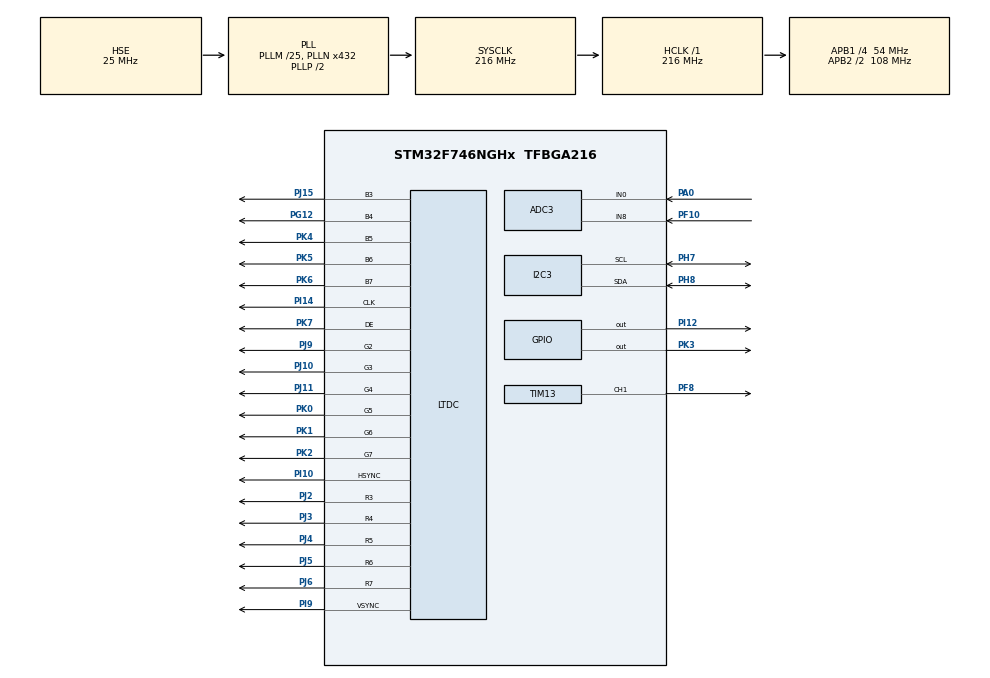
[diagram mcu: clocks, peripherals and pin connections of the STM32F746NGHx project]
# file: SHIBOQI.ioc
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ADC3.Channel-0\#ChannelRegularConversion=ADC_CHANNEL_0
ADC3.Channel-1\#ChannelRegularConversion=ADC_CHANNEL_8
ADC3.DMAContinuousRequests=ENABLE
ADC3.ExternalTrigConv=ADC_EXTERNALTRIGCONV_T2_CC2
ADC3.NbrOfConversion=2
ADC3.NbrOfConversionFlag=1
ADC3.Rank-0\#ChannelRegularConversion=1
ADC3.Rank-1\#ChannelRegularConversion=2
ADC3.SamplingTime-0\#ChannelRegularConversion=ADC_SAMPLETIME_3CYCLES
ADC3.SamplingTime-1\#ChannelRegularConversion=ADC_SAMPLETIME_3CYCLES
Dma.ADC3.0.Direction=DMA_PERIPH_TO_MEMORY
Dma.ADC3.0.FIFOMode=DMA_FIFOMODE_DISABLE
Dma.ADC3.0.Instance=DMA2_Stream0
Dma.ADC3.0.MemDataAlignment=DMA_MDATAALIGN_HALFWORD
Dma.ADC3.0.MemInc=DMA_MINC_ENABLE
Dma.ADC3.0.Mode=DMA_CIRCULAR
Dma.ADC3.0.PeriphDataAlignment=DMA_PDATAALIGN_HALFWORD
Dma.ADC3.0.PeriphInc=DMA_PINC_DISABLE
Dma.ADC3.0.Priority=DMA_PRIORITY_LOW
Dma.Request0=ADC3
I2C3.Timing=0x20404768
LTDC.ActiveH=272
LTDC.ActiveW=480
LTDC.Alpha_L0=255
LTDC.FBStartAdress_L0=0x20010400
LTDC.HBP=43
LTDC.HFP=8
LTDC.HSync=1
LTDC.ImageHeight_L0=272
LTDC.ImageWidth_L0=480
LTDC.Layers=0
LTDC.PixelFormat_L0=LTDC_PIXEL_FORMAT_RGB565
LTDC.VBP=12
LTDC.VFP=4
LTDC.VSync=10
LTDC.WindowX1_L0=480
LTDC.WindowY1_L0=272
Mcu.Family=STM32F7
Mcu.Name=STM32F746NGHx
Mcu.Package=TFBGA216
NVIC.ADC_IRQn=true\:1\:0\:true\:false\:true\:true\:true\:true
NVIC.DMA2_Stream0_IRQn=true\:0\:0\:false\:false\:true\:false\:true\:true
NVIC.PriorityGroup=NVIC_PRIORITYGROUP_4
NVIC.TIM2_IRQn=true\:1\:0\:true\:false\:true\:true\:true\:true
PA0/WKUP.Signal=ADCx_IN0
PA13.Mode=Trace_Asynchronous_SW
PA13.Signal=SYS_JTMS-SWDIO
PA14.Mode=Trace_Asynchronous_SW
PA14.Signal=SYS_JTCK-SWCLK
PB3.Mode=Trace_Asynchronous_SW
PB3.Signal=SYS_JTDO-SWO
PF10.Mode=IN8
PF10.Signal=ADC3_IN8
PF8.Signal=S_TIM13_CH1
PG12.Mode=RGB565
PG12.Signal=LTDC_B4
PH0/OSC_IN.Mode=HSE-External-Oscillator
PH0/OSC_IN.Signal=RCC_OSC_IN
PH1/OSC_OUT.Mode=HSE-External-Oscillator
PH1/OSC_OUT.Signal=RCC_OSC_OUT
PH7.Mode=I2C
PH7.Signal=I2C3_SCL
PH8.Mode=I2C
PH8.Signal=I2C3_SDA
PI10.Mode=RGB565
PI10.Signal=LTDC_HSYNC
PI12.PinState=GPIO_PIN_SET
PI12.Signal=GPIO_Output
PI14.Mode=RGB565
PI14.Signal=LTDC_CLK
PI9.Mode=RGB565
PI9.Signal=LTDC_VSYNC
PJ10.Mode=RGB565
PJ10.Signal=LTDC_G3
PJ11.Mode=RGB565
PJ11.Signal=LTDC_G4
PJ15.Mode=RGB565
PJ15.Signal=LTDC_B3
PJ2.Mode=RGB565
PJ2.Signal=LTDC_R3
PJ3.Mode=RGB565
PJ3.Signal=LTDC_R4
PJ4.Mode=RGB565
PJ4.Signal=LTDC_R5
PJ5.Mode=RGB565
PJ5.Signal=LTDC_R6
PJ6.Mode=RGB565
PJ6.Signal=LTDC_R7
PJ9.Mode=RGB565
PJ9.Signal=LTDC_G2
PK0.Mode=RGB565
PK0.Signal=LTDC_G5
PK1.Mode=RGB565
PK1.Signal=LTDC_G6
PK2.Mode=RGB565
PK2.Signal=LTDC_G7
PK3.PinState=GPIO_PIN_SET
PK3.Signal=GPIO_Output
PK4.Mode=RGB565
PK4.Signal=LTDC_B5
PK5.Mode=RGB565
PK5.Signal=LTDC_B6
PK6.Mode=RGB565
PK6.Signal=LTDC_B7
PK7.Mode=RGB565
PK7.Signal=LTDC_DE
ProjectManager.HeapSize=0x200
ProjectManager.StackSize=0x400
ProjectManager.TargetToolchain=MDK-ARM V5
RCC.AHBFreq_Value=216000000
RCC.APB1CLKDivider=RCC_HCLK_DIV4
RCC.APB1Freq_Value=54000000
RCC.APB1TimFreq_Value=108000000
RCC.APB2CLKDivider=RCC_HCLK_DIV2
RCC.APB2Freq_Value=108000000
RCC.APB2TimFreq_Value=216000000
RCC.CortexFreq_Value=216000000
RCC.HCLKFreq_Value=216000000
RCC.HSE_VALUE=25000000
RCC.HSI_VALUE=16000000
RCC.LSE_VALUE=32768
RCC.PLLM=25
RCC.PLLN=432
RCC.PLLSAIN=200
RCC.PLLSAIR=5
RCC.PLLSAIRDiv=RCC_PLLSAIDIVR_4
RCC.PLLSourceVirtual=RCC_PLLSOURCE_HSE
RCC.SYSCLKFreq_VALUE=216000000
RCC.SYSCLKSource=RCC_SYSCLKSOURCE_PLLCLK
RCC.USBFreq_Value=216000000
RCC.VCOOutputFreq_Value=432000000
SH.ADCx_IN0.0=ADC3_IN0,IN0
SH.S_TIM13_CH1.0=TIM13_CH1,PWM Generation1 CH1
TIM13.Channel=TIM_CHANNEL_1
TIM13.Period=100-1
TIM13.Prescaler=10800-1
TIM13.Pulse=50
TIM2.Channel-PWM\ Generation2\ No\ Output=TIM_CHANNEL_2
TIM2.Period=100-1
TIM2.Prescaler=10800-1
TIM2.Pulse-PWM\ Generation2\ No\ Output=10
VP_TIM13_VS_ClockSourceINT.Mode=Enable_Timer
VP_TIM2_VS_ClockSourceINT.Mode=Internal
VP_TIM2_VS_no_output2.Mode=PWM Generation2 No Output
board=custom

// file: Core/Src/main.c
/* USER CODE BEGIN Header */
/**
  ******************************************************************************
  * @file           : main.c
  * @brief          : Main program body
  ******************************************************************************
  * @attention
  *
  * Copyright (c) 2023 STMicroelectronics.
  * All rights reserved.
  *
  * This software is licensed under terms that can be found in the LICENSE file
  * in the root directory of this software component.
  * If no LICENSE file comes with this software, it is provided AS-IS.
  *
  ******************************************************************************
  */
/* USER CODE END Header */
#include "main.h"
#include "adc.h"
#include "dma.h"
#include "i2c.h"
#include "ltdc.h"
#include "tim.h"
#include "gpio.h"

/* USER CODE BEGIN Includes */
#include <stdio.h>
#include "lvgl.h"
#include "lv_port_disp_template.h"
#include "lv_port_indev_template.h"
#include "ui.h"
/* USER CODE END Includes */

/* USER CODE BEGIN PV */
int FLAG1 = 1;
int FLAG2 = 1;
int FLAG3 = 0;
int FLAG4 = 0;
int FLAG5 = 0;

uint16_t buffer[700];
uint16_t in0Array[350];
uint16_t in8Array[350];
extern lv_chart_series_t* ui_Chart1_series_1 ;
extern lv_chart_series_t* ui_Chart1_series_2 ;

/* USER CODE END PV */

void SystemClock_Config(void);

/* USER CODE BEGIN 0 */
uint16_t lcd_disp_buf[480*272]={0};

void HAL_ADC_ConvCpltCallback(ADC_HandleTypeDef* hadc){
	int oddIndex = 0;
	int evenIndex = 0;
		HAL_TIM_PWM_Stop(&htim2, TIM_CHANNEL_2);
	for (int i = 0; i < 700; i++) {
        if (i % 2 == 0) {
            in0Array[evenIndex] = buffer[i]*3300/4096;
            evenIndex++;
        } else {
            in8Array[oddIndex] = buffer[i]*3300/4096;
            oddIndex++;
        }
		}
		HAL_TIM_PWM_Start(&htim2, TIM_CHANNEL_2);
}
/* USER CODE END 0 */

int main(void)
{

  /* MCU Configuration--------------------------------------------------------*/

  /* Reset of all peripherals, Initializes the Flash interface and the Systick. */
  HAL_Init();

  /* USER CODE BEGIN Init */
  /* USER CODE END Init */if(FLAG3 == 1) FLAG3 = 0;
	if(FLAG3 == 0) {
	FLAG3 = 1;
	__HAL_TIM_SET_PRESCALER(&htim13, 21600-1);
	}if(FLAG3 == 1) FLAG3 = 0;
	if(FLAG3 == 0) {
	FLAG3 = 1;
	__HAL_TIM_SET_PRESCALER(&htim13, 21600-1);
	}

  /* Configure the system clock */
  SystemClock_Config();

  /* Initialize all configured peripherals */
  MX_GPIO_Init();
  MX_DMA_Init();
  MX_TIM2_Init();
  MX_ADC3_Init();
  MX_LTDC_Init();
  MX_I2C3_Init();
  MX_TIM13_Init();
  /* USER CODE BEGIN 2 */
	HAL_ADC_Start_DMA(&hadc3, (uint32_t *)buffer, 700);
	HAL_TIM_PWM_Start(&htim2, TIM_CHANNEL_2);

  lv_init();
	lv_port_disp_init();
	ui_init();
	lv_port_indev_init();

  /* USER CODE END 2 */

  /* Infinite loop */
  while (1)
  {

    /* USER CODE BEGIN 3 */
			if(FLAG3 == 1 || FLAG4==1 || FLAG5==1)
		{
		HAL_TIM_PWM_Start(&htim13, TIM_CHANNEL_1);
		}
		HAL_Delay(1);
		lv_task_handler();

		uint16_t maxVal1 = in0Array[0];
		uint16_t minVal1 = in0Array[0];
		uint16_t VppCH1 = 0;
		uint16_t maxVal2 = in8Array[0];
		uint16_t minVal2 = in8Array[0];
		uint16_t VppCH2 = 0;
    for(int i=0; i<350; i++)
    {
        if(in0Array[i] > maxVal1)
        {
            maxVal1 = in0Array[i];
        }
        if(in0Array[i] < minVal1)
        {
            minVal1 = in0Array[i];
        }
    }
		VppCH1 =  maxVal1 - minVal1;

		for(int j=0; j<350; j++)
    {
        if(in8Array[j] > maxVal2)
        {
            maxVal2 = in8Array[j];
        }
        if(in8Array[j] < minVal2)
        {
            minVal2 = in8Array[j];
        }
    }
    VppCH2 = maxVal2 - minVal2;
		lv_label_set_text_fmt(ui_Label7,"%d",VppCH1);
		lv_label_set_text_fmt(ui_Label8,"%d",maxVal2);

		if(FLAG1 == 1)
		{
		  lv_chart_hide_series(ui_Chart1, ui_Chart1_series_1, 0);
			lv_chart_set_ext_y_array(ui_Chart1, ui_Chart1_series_1, (lv_coord_t*)  in0Array);
		}
		if(FLAG2 == 1)
		{
       lv_chart_hide_series(ui_Chart1, ui_Chart1_series_2, 0);
		   lv_chart_set_ext_y_array(ui_Chart1, ui_Chart1_series_2, (lv_coord_t*)  in8Array);
		}
		if(FLAG1 == 0)
		{
			lv_chart_hide_series(ui_Chart1, ui_Chart1_series_1, 1);
		}
		if(FLAG2 == 0)
		{
			lv_chart_hide_series(ui_Chart1, ui_Chart1_series_2, 1);
		}

  }
  /* USER CODE END 3 */
}

void SystemClock_Config(void)
{
  RCC_OscInitTypeDef RCC_OscInitStruct = {0};
  RCC_ClkInitTypeDef RCC_ClkInitStruct = {0};

  /** Configure the main internal regulator output voltage
  */
  __HAL_RCC_PWR_CLK_ENABLE();
  __HAL_PWR_VOLTAGESCALING_CONFIG(PWR_REGULATOR_VOLTAGE_SCALE1);

  /** Initializes the RCC Oscillators according to the specified parameters
  * in the RCC_OscInitTypeDef structure.
  */
  RCC_OscInitStruct.OscillatorType = RCC_OSCILLATORTYPE_HSE;
  RCC_OscInitStruct.HSEState = RCC_HSE_ON;
  RCC_OscInitStruct.PLL.PLLState = RCC_PLL_ON;
  RCC_OscInitStruct.PLL.PLLSource = RCC_PLLSOURCE_HSE;
  RCC_OscInitStruct.PLL.PLLM = 25;
  RCC_OscInitStruct.PLL.PLLN = 432;
  RCC_OscInitStruct.PLL.PLLP = RCC_PLLP_DIV2;
  RCC_OscInitStruct.PLL.PLLQ = 2;
  if (HAL_RCC_OscConfig(&RCC_OscInitStruct) != HAL_OK)
  {
    Error_Handler();
  }

  /** Activate the Over-Drive mode
  */
  if (HAL_PWREx_EnableOverDrive() != HAL_OK)
  {
    Error_Handler();
  }

  /** Initializes the CPU, AHB and APB buses clocks
  */
  RCC_ClkInitStruct.ClockType = RCC_CLOCKTYPE_HCLK|RCC_CLOCKTYPE_SYSCLK
                              |RCC_CLOCKTYPE_PCLK1|RCC_CLOCKTYPE_PCLK2;
  RCC_ClkInitStruct.SYSCLKSource = RCC_SYSCLKSOURCE_PLLCLK;
  RCC_ClkInitStruct.AHBCLKDivider = RCC_SYSCLK_DIV1;
  RCC_ClkInitStruct.APB1CLKDivider = RCC_HCLK_DIV4;
  RCC_ClkInitStruct.APB2CLKDivider = RCC_HCLK_DIV2;

  if (HAL_RCC_ClockConfig(&RCC_ClkInitStruct, FLASH_LATENCY_7) != HAL_OK)
  {
    Error_Handler();
  }
}

void Error_Handler(void)
{
  __disable_irq();
  while (1)
  {
  }
}
